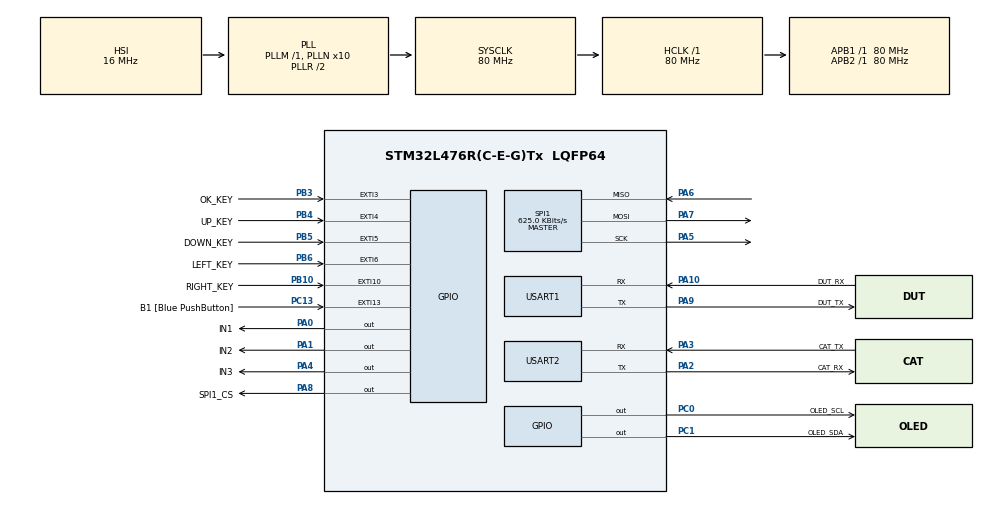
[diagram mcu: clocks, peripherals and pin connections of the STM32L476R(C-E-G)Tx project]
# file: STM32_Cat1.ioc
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Mcu.Family=STM32L4
Mcu.Name=STM32L476R(C-E-G)Tx
Mcu.Package=LQFP64
NVIC.EXTI15_10_IRQn=true\:1\:0\:true\:false\:true\:true\:true
NVIC.EXTI3_IRQn=true\:1\:0\:true\:false\:true\:true\:true
NVIC.EXTI4_IRQn=true\:1\:0\:true\:false\:true\:true\:true
NVIC.EXTI9_5_IRQn=true\:1\:0\:true\:false\:true\:true\:true
NVIC.PriorityGroup=NVIC_PRIORITYGROUP_4
NVIC.USART1_IRQn=true\:1\:0\:true\:false\:true\:true\:true
NVIC.USART2_IRQn=true\:1\:0\:true\:false\:true\:true\:true
PA0.GPIO_Label=IN1
PA0.PinState=GPIO_PIN_SET
PA0.Signal=GPIO_Output
PA1.GPIO_Label=IN2
PA1.PinState=GPIO_PIN_SET
PA1.Signal=GPIO_Output
PA10.GPIO_Label=DUT_RX
PA10.Mode=Asynchronous
PA10.Signal=USART1_RX
PA13\ (JTMS-SWDIO).GPIO_Label=TMS
PA13\ (JTMS-SWDIO).Mode=Serial_Wire
PA13\ (JTMS-SWDIO).Signal=SYS_JTMS-SWDIO
PA14\ (JTCK-SWCLK).GPIO_Label=TCK
PA14\ (JTCK-SWCLK).Mode=Serial_Wire
PA14\ (JTCK-SWCLK).Signal=SYS_JTCK-SWCLK
PA2.GPIO_Label=CAT_RX
PA2.GPIO_Mode=GPIO_MODE_AF_PP
PA2.GPIO_PuPd=GPIO_NOPULL
PA2.GPIO_Speed=GPIO_SPEED_FREQ_VERY_HIGH
PA2.Mode=Asynchronous
PA2.Signal=USART2_TX
PA3.GPIO_Label=CAT_TX
PA3.GPIO_Mode=GPIO_MODE_AF_PP
PA3.GPIO_PuPd=GPIO_NOPULL
PA3.GPIO_Speed=GPIO_SPEED_FREQ_VERY_HIGH
PA3.Mode=Asynchronous
PA3.Signal=USART2_RX
PA4.GPIO_Label=IN3
PA4.PinState=GPIO_PIN_SET
PA4.Signal=GPIO_Output
PA5.Mode=Full_Duplex_Master
PA5.Signal=SPI1_SCK
PA6.Mode=Full_Duplex_Master
PA6.Signal=SPI1_MISO
PA7.Mode=Full_Duplex_Master
PA7.Signal=SPI1_MOSI
PA8.GPIO_Label=SPI1_CS
PA8.PinState=GPIO_PIN_SET
PA8.Signal=GPIO_Output
PA9.GPIO_Label=DUT_TX
PA9.Mode=Asynchronous
PA9.Signal=USART1_TX
PB10.GPIO_Label=RIGHT_KEY
PB10.GPIO_PuPd=GPIO_PULLUP
PB10.Signal=GPXTI10
PB3\ (JTDO-TRACESWO).GPIO_Label=OK_KEY
PB3\ (JTDO-TRACESWO).GPIO_PuPd=GPIO_PULLUP
PB3\ (JTDO-TRACESWO).Signal=GPXTI3
PB4\ (NJTRST).GPIO_Label=UP_KEY
PB4\ (NJTRST).GPIO_PuPd=GPIO_PULLUP
PB4\ (NJTRST).Signal=GPXTI4
PB5.GPIO_Label=DOWN_KEY
PB5.GPIO_PuPd=GPIO_PULLUP
PB5.Signal=GPXTI5
PB6.GPIO_Label=LEFT_KEY
PB6.GPIO_PuPd=GPIO_PULLUP
PB6.Signal=GPXTI6
PC0.GPIO_Label=OLED_SCL
PC0.PinState=GPIO_PIN_SET
PC0.Signal=GPIO_Output
PC1.GPIO_Label=OLED_SDA
PC1.PinState=GPIO_PIN_SET
PC1.Signal=GPIO_Output
PC13.GPIO_Label=B1 [Blue PushButton]
PC13.GPIO_ModeDefaultEXTI=GPIO_MODE_IT_FALLING
PC13.GPIO_PuPd=GPIO_NOPULL
PC13.Signal=GPXTI13
PC14-OSC32_IN\ (PC14).Mode=LSE-External-Oscillator
PC14-OSC32_IN\ (PC14).Signal=RCC_OSC32_IN
PC15-OSC32_OUT\ (PC15).Mode=LSE-External-Oscillator
PC15-OSC32_OUT\ (PC15).Signal=RCC_OSC32_OUT
ProjectManager.HeapSize=0x200
ProjectManager.StackSize=0x400
ProjectManager.TargetToolchain=EWARM V7
RCC.ADCFreq_Value=64000000
RCC.AHBFreq_Value=80000000
RCC.APB1Freq_Value=80000000
RCC.APB1TimFreq_Value=80000000
RCC.APB2Freq_Value=80000000
RCC.APB2TimFreq_Value=80000000
RCC.CortexFreq_Value=80000000
RCC.HCLKFreq_Value=80000000
RCC.HSE_VALUE=8000000
RCC.HSI_VALUE=16000000
RCC.MSI_VALUE=4000000
RCC.PLLN=10
RCC.PLLSourceVirtual=RCC_PLLSOURCE_HSI
RCC.PREFETCH_ENABLE=1
RCC.SYSCLKFreq_VALUE=80000000
RCC.SYSCLKSource=RCC_SYSCLKSOURCE_PLLCLK
RCC.USBFreq_Value=64000000
RCC.VCOOutputFreq_Value=160000000
SPI1.BaudRatePrescaler=SPI_BAUDRATEPRESCALER_128
SPI1.CalculateBaudRate=625.0 KBits/s
SPI1.DataSize=SPI_DATASIZE_8BIT
SPI1.Direction=SPI_DIRECTION_2LINES
SPI1.Mode=SPI_MODE_MASTER
SPI1.VirtualType=VM_MASTER
USART1.VirtualMode-Asynchronous=VM_ASYNC
USART2.VirtualMode-Asynchronous=VM_ASYNC
board=NUCLEO-L476RG

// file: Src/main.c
/* USER CODE BEGIN Header */
/**
  ******************************************************************************
  * @file           : main.c
  * @brief          : Main program body
  ******************************************************************************
  * @attention
  *
  * <h2><center>&copy; Copyright (c) 2020 STMicroelectronics.
  * All rights reserved.</center></h2>
  *
  * This software component is licensed by ST under BSD 3-Clause license,
  * the "License"; You may not use this file except in compliance with the
  * License. You may obtain a copy of the License at:
  *                        opensource.org/licenses/BSD-3-Clause
  *
  ******************************************************************************
  */
/* USER CODE END Header */
#include "main.h"

/* USER CODE BEGIN Includes */
#include "CAT_Com.h"
#include "Dut_Com.h"
#include "modbus_master.h"
#include "sys_queue.h"
#include "sys_command_line.h"
/* USER CODE END Includes */

SPI_HandleTypeDef hspi1;

UART_HandleTypeDef huart1;
UART_HandleTypeDef huart2;

/* USER CODE BEGIN PV */
uint8_t rx_buffer[2];
uint8_t rx_buffer1[2];
unsigned char cli_rx=0;
/* USER CODE END PV */

void SystemClock_Config(void);
static void MX_GPIO_Init(void);
static void MX_SPI1_Init(void);
static void MX_USART1_UART_Init(void);
static void MX_USART2_UART_Init(void);

/* USER CODE BEGIN 0 */
void Delay(__IO uint32_t nCount)	 //delay
{
    for(; nCount != 0; nCount--);
}
void HAL_UART_RxCpltCallback(UART_HandleTypeDef *huart)
{
  // char xx[20];
  // sprintf(xx,"data is %c%c%c%c\n",rx_buffer[0],rx_buffer[1],rx_buffer[2],rx_buffer[3]);
  // Tx_String("receive data form uart\n");
  // Tx_String(xx);
  // Tx_Byte(rx_buffer[0]);

  /* save char */
  if (huart == &huart2)
  {
    // Tx_Byte_To_Cat(rx_buffer[0]);
    // printf("reeive one char\n");

    // if(rx_buffer[0]!='\r' && rx_buffer[0]!='\n')
    // {
    QUEUE_IN(cli_rx_buff, rx_buffer[0]);
    // }
    // else
    // {
    //   cli_rx=1;
    //   printf("rx full command\n");
    // }

    HAL_UART_Receive_IT(&huart2, rx_buffer, 1);

    //  uint8_t ucData;
    // if(USART_GetITStatus(USART1, USART_IT_RXNE) != RESET) {
    //     ucData = USART_ReceiveData(USART1);
    //     /* save char */
    //     QUEUE_IN(cli_rx_buff, ucData);
    //     //printf("%02x", ucTemp);
    // }
  }

  if (huart == &huart1)
  {
    Modbus_Master_Rece_Handler();
    HAL_UART_Receive_IT(&huart1, rx_buffer1, 1);
  }
}
/* USER CODE END 0 */

int main(void)
{
  /* USER CODE BEGIN 1 */
  uint8_t state=0;
	uint16_t  Input_Result[2];
  uint8_t result;
  /* USER CODE END 1 */

  /* MCU Configuration--------------------------------------------------------*/

  /* Reset of all peripherals, Initializes the Flash interface and the Systick. */
  HAL_Init();

  /* Configure the system clock */
  SystemClock_Config();

  /* USER CODE BEGIN SysInit */
  ModbusMaster_begin();
  /* USER CODE END SysInit */

  /* Initialize all configured peripherals */
  MX_GPIO_Init();
  MX_SPI1_Init();
  MX_USART1_UART_Init();
  MX_USART2_UART_Init();
  /* USER CODE BEGIN 2 */
  HAL_UART_Receive_IT(&huart2, rx_buffer, 1);
  HAL_UART_Receive_IT(&huart1, rx_buffer1, 1);
  CLI_INIT(CLI_BAUDRATE);
  /* USER CODE END 2 */

  /* Infinite loop */
  /* USER CODE BEGIN WHILE */
  while (1)
  {
    //Tx_String_To_Cat("my name is weijunfeng\n");
    //Dut_Tx_String("send string to dut\n");

    // result = ModbusMaster_readInputRegisters(0x01, 0x2, 2);
    // if (result == 0x00)
    // {
    //   Input_Result[0] = ModbusMaster_getResponseBuffer(0x00);
    //   Input_Result[1] = ModbusMaster_getResponseBuffer(0x01);
    // }
    CLI_RUN();
    //Dut_OTA_Firmware();
    HAL_Delay(50);
    /* USER CODE END WHILE */

  }
}

void SystemClock_Config(void)
{
  RCC_OscInitTypeDef RCC_OscInitStruct = {0};
  RCC_ClkInitTypeDef RCC_ClkInitStruct = {0};
  RCC_PeriphCLKInitTypeDef PeriphClkInit = {0};

  /** Initializes the RCC Oscillators according to the specified parameters
  * in the RCC_OscInitTypeDef structure.
  */
  RCC_OscInitStruct.OscillatorType = RCC_OSCILLATORTYPE_HSI;
  RCC_OscInitStruct.HSIState = RCC_HSI_ON;
  RCC_OscInitStruct.HSICalibrationValue = RCC_HSICALIBRATION_DEFAULT;
  RCC_OscInitStruct.PLL.PLLState = RCC_PLL_ON;
  RCC_OscInitStruct.PLL.PLLSource = RCC_PLLSOURCE_HSI;
  RCC_OscInitStruct.PLL.PLLM = 1;
  RCC_OscInitStruct.PLL.PLLN = 10;
  RCC_OscInitStruct.PLL.PLLP = RCC_PLLP_DIV7;
  RCC_OscInitStruct.PLL.PLLQ = RCC_PLLQ_DIV2;
  RCC_OscInitStruct.PLL.PLLR = RCC_PLLR_DIV2;
  if (HAL_RCC_OscConfig(&RCC_OscInitStruct) != HAL_OK)
  {
    Error_Handler();
  }
  /** Initializes the CPU, AHB and APB buses clocks
  */
  RCC_ClkInitStruct.ClockType = RCC_CLOCKTYPE_HCLK|RCC_CLOCKTYPE_SYSCLK
                              |RCC_CLOCKTYPE_PCLK1|RCC_CLOCKTYPE_PCLK2;
  RCC_ClkInitStruct.SYSCLKSource = RCC_SYSCLKSOURCE_PLLCLK;
  RCC_ClkInitStruct.AHBCLKDivider = RCC_SYSCLK_DIV1;
  RCC_ClkInitStruct.APB1CLKDivider = RCC_HCLK_DIV1;
  RCC_ClkInitStruct.APB2CLKDivider = RCC_HCLK_DIV1;

  if (HAL_RCC_ClockConfig(&RCC_ClkInitStruct, FLASH_LATENCY_4) != HAL_OK)
  {
    Error_Handler();
  }
  PeriphClkInit.PeriphClockSelection = RCC_PERIPHCLK_USART1|RCC_PERIPHCLK_USART2;
  PeriphClkInit.Usart1ClockSelection = RCC_USART1CLKSOURCE_PCLK2;
  PeriphClkInit.Usart2ClockSelection = RCC_USART2CLKSOURCE_PCLK1;
  if (HAL_RCCEx_PeriphCLKConfig(&PeriphClkInit) != HAL_OK)
  {
    Error_Handler();
  }
  /** Configure the main internal regulator output voltage
  */
  if (HAL_PWREx_ControlVoltageScaling(PWR_REGULATOR_VOLTAGE_SCALE1) != HAL_OK)
  {
    Error_Handler();
  }
}

static void MX_SPI1_Init(void)
{

  /* SPI1 parameter configuration*/
  hspi1.Instance = SPI1;
  hspi1.Init.Mode = SPI_MODE_MASTER;
  hspi1.Init.Direction = SPI_DIRECTION_2LINES;
  hspi1.Init.DataSize = SPI_DATASIZE_8BIT;
  hspi1.Init.CLKPolarity = SPI_POLARITY_LOW;
  hspi1.Init.CLKPhase = SPI_PHASE_1EDGE;
  hspi1.Init.NSS = SPI_NSS_SOFT;
  hspi1.Init.BaudRatePrescaler = SPI_BAUDRATEPRESCALER_128;
  hspi1.Init.FirstBit = SPI_FIRSTBIT_MSB;
  hspi1.Init.TIMode = SPI_TIMODE_DISABLE;
  hspi1.Init.CRCCalculation = SPI_CRCCALCULATION_DISABLE;
  hspi1.Init.CRCPolynomial = 7;
  hspi1.Init.CRCLength = SPI_CRC_LENGTH_DATASIZE;
  hspi1.Init.NSSPMode = SPI_NSS_PULSE_ENABLE;
  if (HAL_SPI_Init(&hspi1) != HAL_OK)
  {
    Error_Handler();
  }

}

static void MX_USART1_UART_Init(void)
{

  huart1.Instance = USART1;
  huart1.Init.BaudRate = 9600;
  huart1.Init.WordLength = UART_WORDLENGTH_8B;
  huart1.Init.StopBits = UART_STOPBITS_1;
  huart1.Init.Parity = UART_PARITY_NONE;
  huart1.Init.Mode = UART_MODE_TX_RX;
  huart1.Init.HwFlowCtl = UART_HWCONTROL_NONE;
  huart1.Init.OverSampling = UART_OVERSAMPLING_16;
  huart1.Init.OneBitSampling = UART_ONE_BIT_SAMPLE_DISABLE;
  huart1.AdvancedInit.AdvFeatureInit = UART_ADVFEATURE_NO_INIT;
  if (HAL_UART_Init(&huart1) != HAL_OK)
  {
    Error_Handler();
  }

}

static void MX_USART2_UART_Init(void)
{

  huart2.Instance = USART2;
  huart2.Init.BaudRate = 115200;
  huart2.Init.WordLength = UART_WORDLENGTH_8B;
  huart2.Init.StopBits = UART_STOPBITS_1;
  huart2.Init.Parity = UART_PARITY_NONE;
  huart2.Init.Mode = UART_MODE_TX_RX;
  huart2.Init.HwFlowCtl = UART_HWCONTROL_NONE;
  huart2.Init.OverSampling = UART_OVERSAMPLING_16;
  huart2.Init.OneBitSampling = UART_ONE_BIT_SAMPLE_DISABLE;
  huart2.AdvancedInit.AdvFeatureInit = UART_ADVFEATURE_NO_INIT;
  if (HAL_UART_Init(&huart2) != HAL_OK)
  {
    Error_Handler();
  }

}

static void MX_GPIO_Init(void)
{
  GPIO_InitTypeDef GPIO_InitStruct = {0};

  /* GPIO Ports Clock Enable */
  __HAL_RCC_GPIOC_CLK_ENABLE();
  __HAL_RCC_GPIOA_CLK_ENABLE();
  __HAL_RCC_GPIOB_CLK_ENABLE();

  /*Configure GPIO pin Output Level */
  HAL_GPIO_WritePin(GPIOC, OLED_SCL_Pin|OLED_SDA_Pin, GPIO_PIN_SET);

  /*Configure GPIO pin Output Level */
  HAL_GPIO_WritePin(GPIOA, IN1_Pin|IN2_Pin|IN3_Pin|SPI1_CS_Pin, GPIO_PIN_SET);

  /*Configure GPIO pin : B1_Pin */
  GPIO_InitStruct.Pin = B1_Pin;
  GPIO_InitStruct.Mode = GPIO_MODE_IT_FALLING;
  GPIO_InitStruct.Pull = GPIO_NOPULL;
  HAL_GPIO_Init(B1_GPIO_Port, &GPIO_InitStruct);

  /*Configure GPIO pins : OLED_SCL_Pin OLED_SDA_Pin */
  GPIO_InitStruct.Pin = OLED_SCL_Pin|OLED_SDA_Pin;
  GPIO_InitStruct.Mode = GPIO_MODE_OUTPUT_PP;
  GPIO_InitStruct.Pull = GPIO_NOPULL;
  GPIO_InitStruct.Speed = GPIO_SPEED_FREQ_LOW;
  HAL_GPIO_Init(GPIOC, &GPIO_InitStruct);

  /*Configure GPIO pins : IN1_Pin IN2_Pin IN3_Pin SPI1_CS_Pin */
  GPIO_InitStruct.Pin = IN1_Pin|IN2_Pin|IN3_Pin|SPI1_CS_Pin;
  GPIO_InitStruct.Mode = GPIO_MODE_OUTPUT_PP;
  GPIO_InitStruct.Pull = GPIO_NOPULL;
  GPIO_InitStruct.Speed = GPIO_SPEED_FREQ_LOW;
  HAL_GPIO_Init(GPIOA, &GPIO_InitStruct);

  /*Configure GPIO pins : RIGHT_KEY_Pin OK_KEY_Pin UP_KEY_Pin DOWN_KEY_Pin
                           LEFT_KEY_Pin */
  GPIO_InitStruct.Pin = RIGHT_KEY_Pin|OK_KEY_Pin|UP_KEY_Pin|DOWN_KEY_Pin
                          |LEFT_KEY_Pin;
  GPIO_InitStruct.Mode = GPIO_MODE_IT_RISING;
  GPIO_InitStruct.Pull = GPIO_PULLUP;
  HAL_GPIO_Init(GPIOB, &GPIO_InitStruct);

  /* EXTI interrupt init*/
  HAL_NVIC_SetPriority(EXTI3_IRQn, 1, 0);
  HAL_NVIC_EnableIRQ(EXTI3_IRQn);

  HAL_NVIC_SetPriority(EXTI4_IRQn, 1, 0);
  HAL_NVIC_EnableIRQ(EXTI4_IRQn);

  HAL_NVIC_SetPriority(EXTI9_5_IRQn, 1, 0);
  HAL_NVIC_EnableIRQ(EXTI9_5_IRQn);

  HAL_NVIC_SetPriority(EXTI15_10_IRQn, 1, 0);
  HAL_NVIC_EnableIRQ(EXTI15_10_IRQn);

}

/* USER CODE BEGIN 4 */
int fputc(int ch, FILE *f)
{
    //Tx_Byte((uint8_t)ch);
    Tx_Byte_To_Cat((uint8_t)ch);
    return ch;
}

/* USER CODE END 4 */

void Error_Handler(void)
{
}

/************************ (C) COPYRIGHT STMicroelectronics *****END OF FILE****/
